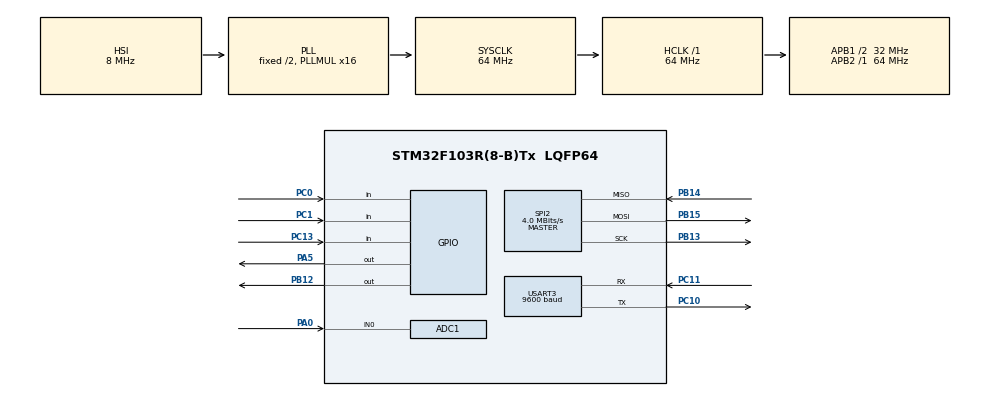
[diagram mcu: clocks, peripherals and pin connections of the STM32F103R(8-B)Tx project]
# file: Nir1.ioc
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ADC1.Channel-1\#ChannelRegularConversion=ADC_CHANNEL_0
ADC1.ContinuousConvMode=DISABLE
ADC1.EnableRegularConversion=ENABLE
ADC1.NbrOfConversionFlag=1
ADC1.Rank-1\#ChannelRegularConversion=1
ADC1.SamplingTime-1\#ChannelRegularConversion=ADC_SAMPLETIME_1CYCLE_5
ADC1.master=1
Mcu.Family=STM32F1
Mcu.Name=STM32F103R(8-B)Tx
Mcu.Package=LQFP64
NVIC.ADC1_2_IRQn=true\:0\:0\:false\:false\:true\:true\:true\:true
NVIC.PriorityGroup=NVIC_PRIORITYGROUP_4
NVIC.SPI2_IRQn=true\:0\:0\:false\:false\:true\:true\:true\:true
NVIC.TIM2_IRQn=true\:0\:0\:false\:false\:true\:true\:true\:true
NVIC.USART3_IRQn=true\:0\:0\:false\:false\:true\:true\:true\:true
PA0-WKUP.Signal=ADCx_IN0
PA5.Signal=GPIO_Output
PB12.Signal=GPIO_Output
PB13.Mode=Full_Duplex_Master
PB13.Signal=SPI2_SCK
PB14.Mode=Full_Duplex_Master
PB14.Signal=SPI2_MISO
PB15.Mode=Full_Duplex_Master
PB15.Signal=SPI2_MOSI
PC0.GPIO_PuPd=GPIO_PULLUP
PC0.Signal=GPIO_Input
PC1.GPIO_PuPd=GPIO_PULLUP
PC1.Signal=GPIO_Input
PC10.Mode=Asynchronous
PC10.Signal=USART3_TX
PC11.Mode=Asynchronous
PC11.Signal=USART3_RX
PC13-TAMPER-RTC.Signal=GPIO_Input
ProjectManager.HeapSize=0x200
ProjectManager.StackSize=0x400
ProjectManager.TargetToolchain=STM32CubeIDE
RCC.ADCPresc=RCC_ADCPCLK2_DIV6
RCC.AHBFreq_Value=64000000
RCC.APB1CLKDivider=RCC_HCLK_DIV2
RCC.APB1Freq_Value=32000000
RCC.APB1TimFreq_Value=64000000
RCC.APB2Freq_Value=64000000
RCC.APB2TimFreq_Value=64000000
RCC.HCLKFreq_Value=64000000
RCC.PLLMUL=RCC_PLL_MUL16
RCC.SYSCLKFreq_VALUE=64000000
RCC.SYSCLKSource=RCC_SYSCLKSOURCE_PLLCLK
RCC.USBFreq_Value=64000000
SH.ADCx_IN0.0=ADC1_IN0,IN0
SPI2.BaudRatePrescaler=SPI_BAUDRATEPRESCALER_8
SPI2.CLKPhase=SPI_PHASE_1EDGE
SPI2.CLKPolarity=SPI_POLARITY_LOW
SPI2.CalculateBaudRate=4.0 MBits/s
SPI2.Direction=SPI_DIRECTION_2LINES
SPI2.Mode=SPI_MODE_MASTER
SPI2.VirtualType=VM_MASTER
TIM2.AutoReloadPreload=TIM_AUTORELOAD_PRELOAD_DISABLE
TIM2.Period=0xffff-1
TIM2.Prescaler=64-1
USART3.BaudRate=9600
USART3.VirtualMode=VM_ASYNC
VP_SYS_VS_ND.Mode=No_Debug
VP_TIM2_VS_ClockSourceINT.Mode=Internal
board=custom

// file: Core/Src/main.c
/* USER CODE BEGIN Header */
/**
  ******************************************************************************
  * @file           : main.c
  * @brief          : Main program body
  ******************************************************************************
  * @attention
  *
  * Copyright (c) 2023 STMicroelectronics.
  * All rights reserved.
  *
  * This software is licensed under terms that can be found in the LICENSE file
  * in the root directory of this software component.
  * If no LICENSE file comes with this software, it is provided AS-IS.
  *
  ******************************************************************************
  */
/* USER CODE END Header */
#include "main.h"
#include "adc.h"
#include "spi.h"
#include "tim.h"
#include "usart.h"
#include "gpio.h"

void SystemClock_Config(void);

int main(void)
{
  /* USER CODE BEGIN 1 */
  GPIO_PinState button1, button2;
  /* USER CODE END 1 */

  /* MCU Configuration--------------------------------------------------------*/

  /* Reset of all peripherals, Initializes the Flash interface and the Systick. */
  HAL_Init();

  /* Configure the system clock */
  SystemClock_Config();

  /* Initialize all configured peripherals */
  MX_GPIO_Init();
  MX_USART3_UART_Init();
  MX_ADC1_Init();
  MX_SPI2_Init();
  MX_TIM2_Init();
  /* USER CODE BEGIN 2 */
  HAL_TIM_RegisterCallback(&htim2, HAL_TIM_PERIOD_ELAPSED_CB_ID,  Tim2RolloverCallback);
  // ADC callback
  HAL_ADC_RegisterCallback(&hadc1, HAL_ADC_CONVERSION_COMPLETE_CB_ID, AdcConversionCallback);
  // UART callbacks
  HAL_UART_RegisterCallback(&huart3, HAL_UART_RX_COMPLETE_CB_ID, UartRxCallback);
  HAL_UART_RegisterCallback(&huart3, HAL_UART_TX_COMPLETE_CB_ID, UartTxCallback);
  // SPI callback
  HAL_SPI_RegisterCallback(&hspi2, HAL_SPI_RX_COMPLETE_CB_ID, SpiRxCallback);
  HAL_SPI_RegisterCallback(&hspi2, HAL_SPI_TX_COMPLETE_CB_ID, SpiTxCallback);
  HAL_SPI_RegisterCallback(&hspi2, HAL_SPI_TX_RX_COMPLETE_CB_ID, SpiTxRxCallback);
  // Enable RX interrupt
  HAL_UART_Receive_IT(&huart3, &UartRxValue, 1);
  /* USER CODE END 2 */

  /* Infinite loop */
  /* USER CODE BEGIN WHILE */

  // Disable SPI CS
  SpiChipSelectDisable();
  // Trigger AD conversion
  TriggerAdcInt();
  // Start Timer 2
  HAL_TIM_Base_Start_IT(&htim2);

  DS18B20_Test();

  while (1)
  {

	  if(AdcValueReady)
	  {
		  AdcValueReady = false;
		  // Buffer AD converted value
		  ConsoleDataStream.AdcValue = AdcConvertValue(AdcSampleValue);
		  // Trigger ADC conversion
		  TriggerAdcInt();
	  }

	  // Read SPI value, convert it and buffer it
	  ConsoleDataStream.SpiValue = SpiConvertValue(TestSpi());

	  // Read temperature from DS18B20
	  ConsoleDataStream.DS18B20Value = DS18B20_Test();

	  // Print data
	  ConsoleDebugDataSend();

      // USER button
	  button1 = HAL_GPIO_ReadPin(GPIOC, GPIO_PIN_13);
	  button2 = HAL_GPIO_ReadPin(GPIOC, GPIO_PIN_0);
	  if((button1 == GPIO_PIN_RESET) || (button2 == GPIO_PIN_RESET))
	  {
		  // USER led
		  HAL_GPIO_TogglePin(GPIOA, GPIO_PIN_5);
		  //HAL_GPIO_TogglePin(GPIOC, GPIO_PIN_1);
	  }

	  //HAL_Delay(100);

    /* USER CODE END WHILE */

  }
}

void SystemClock_Config(void)
{
  RCC_OscInitTypeDef RCC_OscInitStruct = {0};
  RCC_ClkInitTypeDef RCC_ClkInitStruct = {0};
  RCC_PeriphCLKInitTypeDef PeriphClkInit = {0};

  /** Initializes the RCC Oscillators according to the specified parameters
  * in the RCC_OscInitTypeDef structure.
  */
  RCC_OscInitStruct.OscillatorType = RCC_OSCILLATORTYPE_HSI;
  RCC_OscInitStruct.HSIState = RCC_HSI_ON;
  RCC_OscInitStruct.HSICalibrationValue = RCC_HSICALIBRATION_DEFAULT;
  RCC_OscInitStruct.PLL.PLLState = RCC_PLL_ON;
  RCC_OscInitStruct.PLL.PLLSource = RCC_PLLSOURCE_HSI_DIV2;
  RCC_OscInitStruct.PLL.PLLMUL = RCC_PLL_MUL16;
  if (HAL_RCC_OscConfig(&RCC_OscInitStruct) != HAL_OK)
  {
    Error_Handler();
  }

  /** Initializes the CPU, AHB and APB buses clocks
  */
  RCC_ClkInitStruct.ClockType = RCC_CLOCKTYPE_HCLK|RCC_CLOCKTYPE_SYSCLK
                              |RCC_CLOCKTYPE_PCLK1|RCC_CLOCKTYPE_PCLK2;
  RCC_ClkInitStruct.SYSCLKSource = RCC_SYSCLKSOURCE_PLLCLK;
  RCC_ClkInitStruct.AHBCLKDivider = RCC_SYSCLK_DIV1;
  RCC_ClkInitStruct.APB1CLKDivider = RCC_HCLK_DIV2;
  RCC_ClkInitStruct.APB2CLKDivider = RCC_HCLK_DIV1;

  if (HAL_RCC_ClockConfig(&RCC_ClkInitStruct, FLASH_LATENCY_2) != HAL_OK)
  {
    Error_Handler();
  }
  PeriphClkInit.PeriphClockSelection = RCC_PERIPHCLK_ADC;
  PeriphClkInit.AdcClockSelection = RCC_ADCPCLK2_DIV6;
  if (HAL_RCCEx_PeriphCLKConfig(&PeriphClkInit) != HAL_OK)
  {
    Error_Handler();
  }
}

void Error_Handler(void)
{
  __disable_irq();
  while (1)
  {
  }
}
